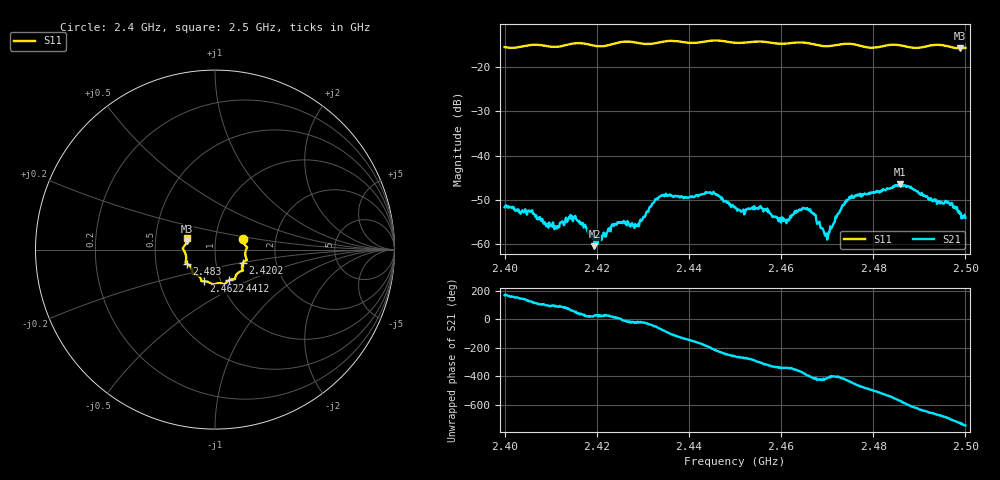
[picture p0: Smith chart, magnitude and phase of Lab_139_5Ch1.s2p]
# Hz S RI R 50
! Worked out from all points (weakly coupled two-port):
!   601 points, 2.4 GHz to 2.5 GHz, reference 50 ohm
!   highest |S21| = -46.44 dB at 2.4858 GHz (marker M1); lowest = -60.5 dB at 2.4195 GHz (marker M2)
!   lowest |S11| = -15.8 dB at 2.4988 GHz (marker M3), VSWR 1.39, Z = 36.3 + j3.46 ohm
!   |S11| at or under -10 dB: start of sweep to end of sweep
!   S12 and S22 are empty: the file has one direction only
!   S11 on the Smith chart (normalised r, x): 2.4 GHz: 1.36, +0.17; 2.4202 GHz: 1.35, -0.20; 2.4412 GHz: 1.09, -0.39; 2.4622 GHz: 0.83, -0.30; 2.483 GHz: 0.72, -0.12; 2.5 GHz: 0.73, +0.09
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2.4e9  0.1575 0.0603  -0.00257 0.000515  0 0  0 0
2.4055e9  0.1774 0.0142  -0.00134 0.0019  0 0  0 0
2.411167e9  0.1685 -0.0203  -8.18e-05 0.00156  0 0  0 0
2.4145e9  0.1761 -0.0521  0.000931 0.00169  0 0  0 0
2.416667e9  0.177 -0.0588  0.00134 0.00107  0 0  0 0
2.4195e9  0.1611 -0.0679  0.00086 0.000401  0 0  0 0
2.420167e9  0.1568 -0.0723  0.000878 0.000491  0 0  0 0
2.4245e9  0.154 -0.1099  0.00174 0.000323  0 0  0 0
2.428667e9  0.1465 -0.1198  0.00143 -0.000693  0 0  0 0
2.433333e9  0.1132 -0.1518  0.00166 -0.00285  0 0  0 0
2.441167e9  0.0757 -0.172  -0.00311 -0.00138  0 0  0 0
2.445833e9  0.0515 -0.1938  -0.00294 0.00211  0 0  0 0
2.45e9  0.0267 -0.1869  -0.000503 0.0026  0 0  0 0
2.462167e9  -0.0626 -0.1768  0.00189 0.000673  0 0  0 0
2.466667e9  -0.0775 -0.1666  0.00162 -0.00163  0 0  0 0
2.47e9  -0.0968 -0.1431  0.000685 -0.000893  0 0  0 0
2.475e9  -0.1255 -0.1342  0.000628 -0.00325  0 0  0 0
2.483e9  -0.1587 -0.078  -0.00427 -0.000515  0 0  0 0
2.483333e9  -0.1603 -0.0772  -0.00423 -0.000274  0 0  0 0
2.485833e9  -0.1631 -0.0682  -0.00409 0.00244  0 0  0 0
2.498833e9  -0.1564 0.0463  0.00217 -0.000317  0 0  0 0
2.5e9  -0.1538 0.0622  0.00183 -0.000787  0 0  0 0
